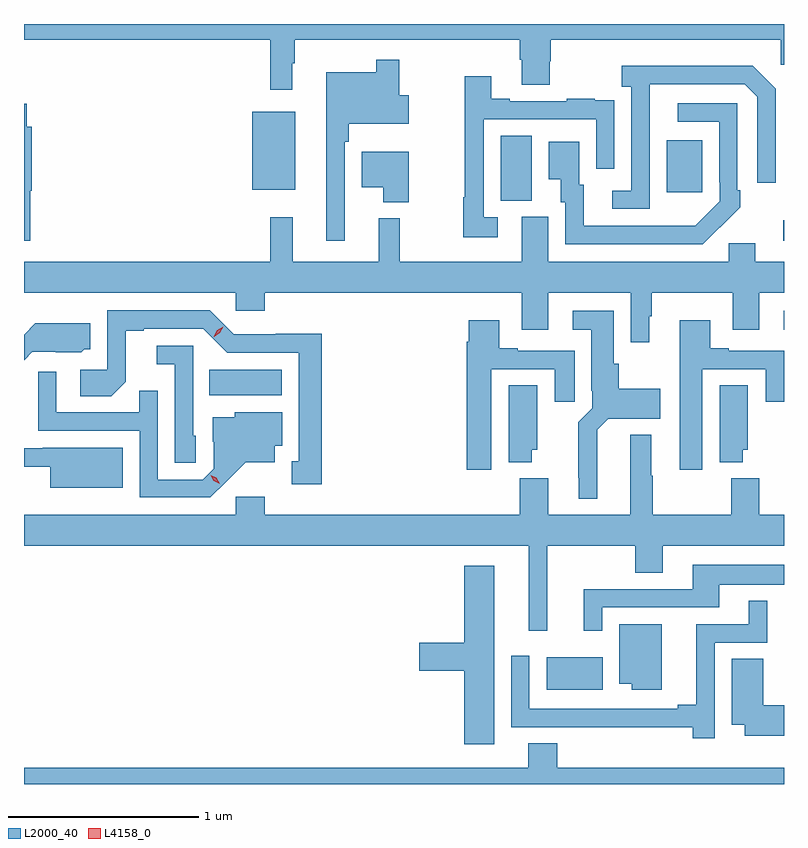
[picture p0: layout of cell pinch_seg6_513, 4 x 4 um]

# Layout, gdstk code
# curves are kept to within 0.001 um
import gdstk
lib = gdstk.Library(unit=1e-6, precision=1e-09)
def R(c, l, rs):  # rectangles x0, y0, x1, y1
    for r in rs: c.add(gdstk.rectangle(r[:2], r[2:], *l))
def P(c, l, *ps):  # polygons
    for p in ps: c.add(gdstk.Polygon(p, *l))
L2000_40 = (2000, 40)
L4158_0 = (4158, 0)

pinch_seg6_513 = lib.new_cell('pinch_seg6_513')
R(pinch_seg6_513, L2000_40, [(761.633,937.256,761.926,937.426), (759.856,938.804,760.237,938.938), (762.879,939.149,762.881,939.25), (762.876,939.618,762.881,939.727), (761.39,939.829,761.554,940.172), (762.263,939.873,762.451,940.147), (760.082,939.887,760.309,940.297)])
P(pinch_seg6_513, L2000_40, [(760.294,940.553),(760.306,940.553),(760.306,940.676),(761.489,940.676),(761.489,940.57),(761.501,940.57),(761.501,940.438),(761.649,940.438),(761.649,940.563),(761.654,940.563),(761.654,940.676),(762.864,940.676),(762.864,940.545),(762.881,940.545),(762.881,940.759),(758.881,940.759),(758.881,940.676),(760.177,940.676),(760.177,940.413),(760.294,940.413)],
  [(760.569,940.139),(760.589,940.139),(760.589,940.235),(760.906,940.235),(760.906,940.383),(760.855,940.383),(760.855,940.57),(760.734,940.57),(760.734,940.504),(760.472,940.504),(760.472,939.618),(760.569,939.618)],
  [(762.174,940.243),(762.175,940.443),(762.675,940.443),(762.741,940.377),(762.741,939.924),(762.837,939.924),(762.837,940.419),(762.716,940.54),(762.027,940.54),(762.027,940.43),(762.078,940.43),(762.078,939.882),(761.976,939.882),(761.976,939.786),(762.174,939.786)],
  [(761.374,939.741),(761.301,939.741),(761.301,940.257),(761.892,940.257),(761.892,939.996),(761.988,939.996),(761.988,940.25),(761.987,940.25),(761.987,940.359),(761.885,940.359),(761.885,940.366),(761.737,940.366),(761.737,940.353),(761.437,940.353),(761.437,940.366),(761.341,940.366),(761.341,940.483),(761.2,940.483),(761.2,939.848),(761.193,939.848),(761.193,939.636),(761.374,939.636)],
  [(762.545,939.691),(762.546,939.69),(762.651,939.795),(762.651,939.883),(762.636,939.883),(762.636,940.341),(762.321,940.341),(762.321,940.245),(762.54,940.245),(762.54,939.925),(762.543,939.925),(762.543,939.825),(762.415,939.697),(761.827,939.696),(761.827,939.912),(761.803,939.912),(761.803,940.138),(761.642,940.138),(761.642,939.941),(761.705,939.941),(761.705,939.822),(761.73,939.822),(761.73,939.6),(762.454,939.6)],
  [(758.915,939.882),(758.921,939.882),(758.921,940.218),(758.896,940.218),(758.896,940.339),(758.881,940.339),(758.881,939.618),(758.915,939.618)],
  [(760.906,940.087),(760.658,940.087),(760.658,939.899),(760.772,939.899),(760.772,939.821),(760.906,939.821)],
  [(762.172,939.222),(762.184,939.222),(762.184,939.344),(762.611,939.344),(762.611,939.15),(762.751,939.15),(762.751,939.344),(762.881,939.344),(762.881,939.508),(762.73,939.508),(762.73,939.606),(762.591,939.606),(762.591,939.508),(761.641,939.508),(761.641,939.744),(761.501,939.744),(761.501,939.508),(760.858,939.508),(760.858,939.736),(760.748,939.736),(760.748,939.508),(760.295,939.508),(760.295,939.742),(760.177,939.742),(760.177,939.508),(758.881,939.508),(758.881,939.344),(759.996,939.344),(759.996,939.251),(760.148,939.251),(760.148,939.344),(761.501,939.344),(761.501,939.15),(761.641,939.15),(761.641,939.344),(762.075,939.344),(762.075,939.084),(762.172,939.084)],
  [(760.447,939.128),(760.206,939.128),(760.206,939.126),(759.984,939.126),(759.858,939.252),(759.318,939.252),(759.318,938.94),(759.177,938.94),(759.177,938.8),(759.341,938.8),(759.417,938.876),(759.417,939.144),(759.511,939.144),(759.511,939.156),(759.825,939.156),(759.951,939.03),(760.328,939.03),(760.328,938.457),(760.289,938.457),(760.289,938.337),(760.447,938.337)],
  [(761.899,938.624),(761.955,938.681),(762.229,938.681),(762.229,938.839),(762.012,938.839),(762.012,938.97),(761.986,938.97),(761.986,939.25),(761.769,939.25),(761.769,939.149),(761.867,939.149),(761.867,938.83),(761.871,938.83),(761.871,938.736),(761.797,938.662),(761.797,938.371),(761.801,938.371),(761.801,938.261),(761.899,938.261)],
  [(761.341,938.943),(761.675,938.943),(761.675,938.772),(761.779,938.772),(761.779,939.039),(761.479,939.039),(761.479,939.052),(761.383,939.052),(761.383,939.199),(761.222,939.199),(761.222,939.086),(761.21,939.086),(761.21,938.412),(761.341,938.412)],
  [(762.451,938.943),(762.785,938.943),(762.785,938.772),(762.881,938.772),(762.881,939.039),(762.589,939.039),(762.589,939.052),(762.493,939.052),(762.493,939.199),(762.332,939.199),(762.332,938.412),(762.451,938.412)],
  [(758.925,939.033),(759.048,939.033),(759.048,939.032),(759.182,939.032),(759.198,939.048),(759.229,939.048),(759.229,939.184),(758.941,939.184),(758.881,939.123),(758.881,938.989)],
  [(759.786,938.592),(759.771,938.592),(759.771,939.066),(759.579,939.066),(759.579,938.969),(759.675,938.969),(759.675,938.449),(759.786,938.449)],
  [(759.946,938.351),(760.049,938.453),(760.201,938.453),(760.201,938.54),(760.24,938.54),(760.24,938.716),(759.99,938.716),(759.99,938.689),(759.875,938.689),(759.875,938.56),(759.879,938.56),(759.879,938.418),(759.822,938.361),(759.585,938.361),(759.585,938.828),(759.487,938.828),(759.487,938.715),(759.051,938.715),(759.051,938.929),(758.955,938.929),(758.955,938.619),(759.489,938.619),(759.489,938.268),(759.862,938.268)],
  [(762.664,938.517),(762.691,938.517),(762.691,938.858),(762.542,938.858),(762.542,938.453),(762.664,938.453)],
  [(761.554,938.517),(761.581,938.517),(761.581,938.858),(761.432,938.858),(761.432,938.453),(761.554,938.453)],
  [(761.636,938.012),(762.097,938.012),(762.097,937.87),(762.244,937.87),(762.244,938.012),(762.881,938.012),(762.881,938.176),(762.751,938.176),(762.751,938.368),(762.604,938.368),(762.604,938.176),(762.189,938.176),(762.189,938.381),(762.181,938.381),(762.181,938.596),(762.071,938.596),(762.071,938.176),(761.641,938.176),(761.641,938.368),(761.489,938.368),(761.489,938.176),(760.148,938.176),(760.148,938.272),(759.996,938.272),(759.996,938.176),(758.881,938.176),(758.881,938.012),(761.537,938.012),(761.537,937.566),(761.636,937.566)],
  [(759.4,938.53),(758.98,938.53),(758.98,938.526),(758.881,938.526),(758.881,938.429),(759.02,938.429),(759.02,938.318),(759.4,938.318)],
  [(761.925,937.689),(762.541,937.689),(762.541,937.808),(762.881,937.808),(762.881,937.912),(762.401,937.912),(762.401,937.785),(761.828,937.785),(761.828,937.566),(761.925,937.566)],
  [(761.356,937.909),(761.198,937.909),(761.198,937.502),(760.962,937.502),(760.962,937.355),(761.198,937.355),(761.198,936.969),(761.356,936.969)],
  [(762.516,937.503),(762.793,937.503),(762.793,937.723),(762.695,937.723),(762.695,937.599),(762.419,937.599),(762.419,937.175),(762.323,937.175),(762.323,937.155),(761.541,937.155),(761.541,937.435),(761.445,937.435),(761.445,937.059),(761.77,937.059),(761.77,937.058),(762.4,937.058),(762.4,936.999),(762.516,936.999)],
  [(762.238,937.6),(762.014,937.6),(762.014,937.286),(762.08,937.286),(762.08,937.256),(762.238,937.256)],
  [(762.881,937.174),(762.772,937.174),(762.772,937.418),(762.605,937.418),(762.605,937.07),(762.674,937.07),(762.674,937.013),(762.881,937.013)],
  [(762.881,936.844),(761.687,936.844),(761.687,936.974),(761.534,936.974),(761.534,936.844),(758.881,936.844),(758.881,936.759),(762.881,936.759)])
P(pinch_seg6_513, L4158_0, [(759.88,939.114),(759.88,939.114),(759.898,939.147),(759.93,939.166),(759.93,939.166),(759.93,939.165),(759.912,939.133),(759.881,939.114)],
  [(759.91,938.34),(759.88,938.355),(759.863,938.385),(759.863,938.385),(759.863,938.385),(759.894,938.37),(759.911,938.34),(759.911,938.34)])

lib.write_gds('pinch_seg6_513.gds')
